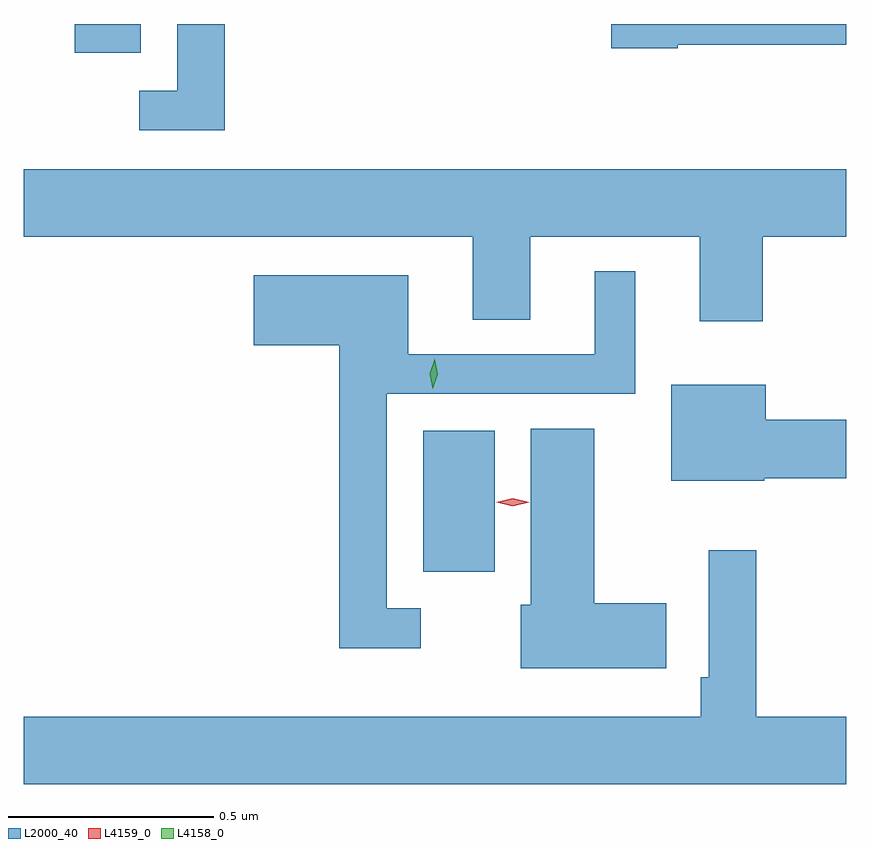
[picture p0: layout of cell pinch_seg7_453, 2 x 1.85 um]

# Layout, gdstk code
import gdstk
lib = gdstk.Library(unit=1e-6, precision=1e-09)
def R(c, l, rs):  # rectangles x0, y0, x1, y1
    for r in rs: c.add(gdstk.rectangle(r[:2], r[2:], *l))
def P(c, l, *ps):  # polygons
    for p in ps: c.add(gdstk.Polygon(p, *l))
L2000_40 = (2000, 40)
L4158_0 = (4158, 0)
L4159_0 = (4159, 0)

pinch_seg7_453 = lib.new_cell('pinch_seg7_453')
R(pinch_seg7_453, L2000_40, [(283.427,1079.72,283.6,1080.064), (282.578,1080.983,282.739,1081.053)])
P(pinch_seg7_453, L2000_40, [(284.046,1081.002),(284.455,1081.002),(284.455,1081.053),(283.884,1081.053),(283.884,1080.994),(284.046,1080.994)],
  [(282.944,1081.053),(282.828,1081.053),(282.828,1080.891),(282.735,1080.891),(282.735,1080.795),(282.944,1080.795)],
  [(284.252,1080.536),(284.455,1080.536),(284.455,1080.7),(282.455,1080.7),(282.455,1080.536),(283.547,1080.536),(283.547,1080.334),(283.687,1080.334),(283.687,1080.536),(284.099,1080.536),(284.099,1080.33),(284.252,1080.33)],
  [(283.42,1079.631),(283.338,1079.631),(283.338,1080.153),(283.942,1080.153),(283.942,1080.451),(283.844,1080.451),(283.844,1080.249),(283.39,1080.249),(283.39,1080.442),(283.014,1080.442),(283.014,1080.272),(283.222,1080.272),(283.222,1079.534),(283.42,1079.534)],
  [(284.256,1079.948),(284.455,1079.948),(284.455,1080.09),(284.26,1080.09),(284.26,1080.175),(284.03,1080.175),(284.03,1079.942),(284.256,1079.942)],
  [(284.017,1079.644),(283.843,1079.644),(283.843,1080.068),(283.688,1080.068),(283.688,1079.64),(283.664,1079.64),(283.664,1079.486),(284.017,1079.486)],
  [(284.455,1079.368),(284.237,1079.368),(284.237,1079.773),(284.121,1079.773),(284.121,1079.464),(284.101,1079.464),(284.101,1079.368),(282.455,1079.368),(282.455,1079.204),(284.455,1079.204)])
P(pinch_seg7_453, L4158_0, [(283.449,1080.165),(283.449,1080.166),(283.442,1080.202),(283.454,1080.237),(283.454,1080.238),(283.454,1080.237),(283.462,1080.201),(283.449,1080.166)])
P(pinch_seg7_453, L4159_0, [(283.644,1079.88),(283.604,1079.89),(283.603,1079.89),(283.604,1079.89),(283.644,1079.899),(283.684,1079.889),(283.684,1079.889),(283.684,1079.889)])

lib.write_gds('pinch_seg7_453.gds')
